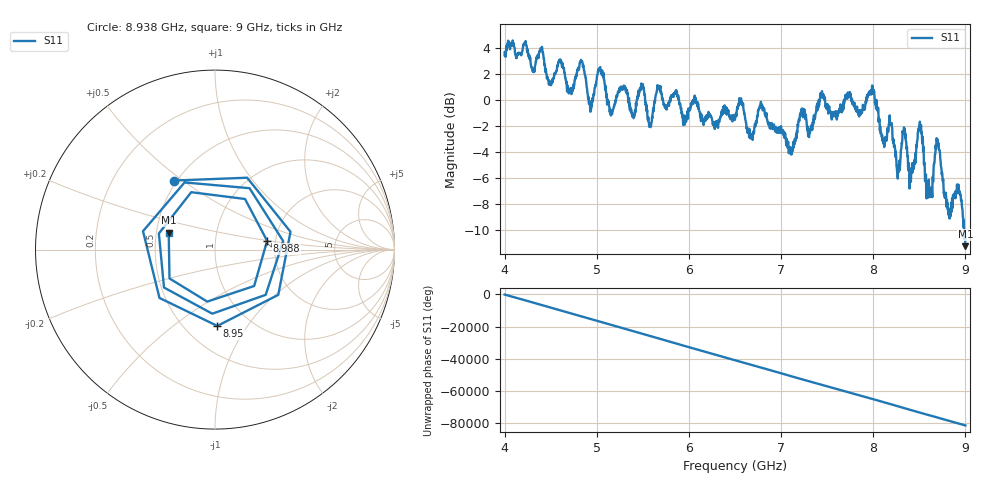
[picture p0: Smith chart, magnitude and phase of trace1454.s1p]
! Created with skrf 1.8.0 (http://scikit-rf.org).
# Hz S RI R 50.0
!freq ReS11 ImS11
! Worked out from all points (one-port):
!   1601 points, 4 GHz to 9 GHz, reference 50 ohm
!   lowest |S11| = -11.2 dB at 9 GHz (marker M1), VSWR 1.76, Z = 29.1 + j5.93 ohm
!   |S11| at or under -10 dB: 8.985349 GHz to end of sweep
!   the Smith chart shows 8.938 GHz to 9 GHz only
!   S11 on the Smith chart (normalised r, x): 8.938 GHz: 0.48, +0.47; 8.95 GHz: 0.71, -0.74; 8.988 GHz: 1.81, +0.19; 9 GHz: 0.58, +0.12
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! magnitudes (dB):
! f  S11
! 4 GHz  3.7
! 4.625 GHz  2.5
! 4.712 GHz  0.6
! 4.841 GHz  3.0
! 4.931 GHz  -0.9
! 5.034 GHz  2.5
! 5.156 GHz  -0.8
! 5.25 GHz  0.7
! 5.397 GHz  -1.2
! 5.491 GHz  0.9
! 5.575 GHz  -1.9
! 5.666 GHz  1.0
! 5.875 GHz  0.3
! 6.5 GHz  -1.5
! 7.125 GHz  -3.7
! 7.231 GHz  -0.8
! 7.75 GHz  0.4
! 7.988 GHz  1.1
! 8.106 GHz  -3.0
! 8.375 GHz  -4.3
! 8.506 GHz  -1.7
! 8.6 GHz  -6.7
! 8.7 GHz  -3.2
! 8.819 GHz  -8.5
! 8.938 GHz  -7.0
! 8.95 GHz  -7.4
! 8.988 GHz  -10.6
! 9 GHz  -11.2
